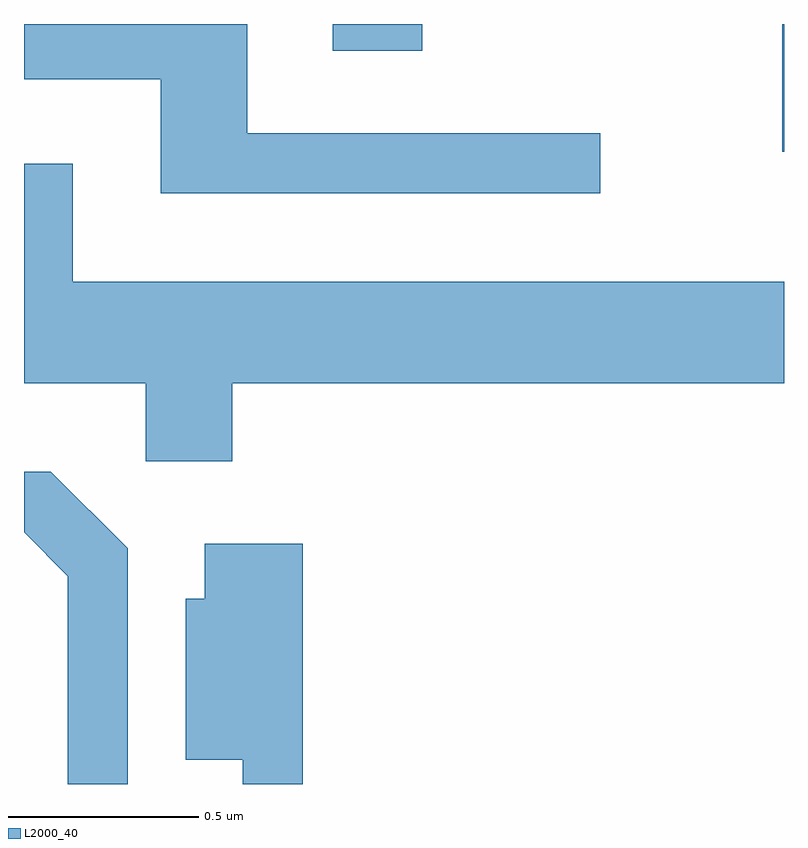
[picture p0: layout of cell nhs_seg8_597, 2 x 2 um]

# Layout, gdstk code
import gdstk
lib = gdstk.Library(unit=1e-6, precision=1e-09)
def R(c, l, rs):  # rectangles x0, y0, x1, y1
    for r in rs: c.add(gdstk.rectangle(r[:2], r[2:], *l))
def P(c, l, *ps):  # polygons
    for p in ps: c.add(gdstk.Polygon(p, *l))
L2000_40 = (2000, 40)

nhs_seg8_597 = lib.new_cell('nhs_seg8_597')
R(nhs_seg8_597, L2000_40, [(191.606,1857.006,191.611,1857.342), (190.423,1857.271,190.659,1857.342)])
P(nhs_seg8_597, L2000_40, [(191.128,1857.054),(190.199,1857.054),(190.199,1857.342),(189.611,1857.342),(189.611,1857.196),(189.971,1857.196),(189.971,1856.896),(191.128,1856.896)],
  [(190.159,1856.396),(191.611,1856.396),(191.611,1856.664),(189.739,1856.664),(189.739,1856.974),(189.611,1856.974),(189.611,1856.396),(189.931,1856.396),(189.931,1856.191),(190.159,1856.191)],
  [(189.884,1855.962),(189.682,1856.164),(189.611,1856.164),(189.611,1856.004),(189.726,1855.889),(189.726,1855.342),(189.884,1855.342)],
  [(190.344,1855.974),(190.086,1855.974),(190.086,1855.829),(190.036,1855.829),(190.036,1855.406),(190.186,1855.406),(190.186,1855.342),(190.344,1855.342)])

lib.write_gds('nhs_seg8_597.gds')
